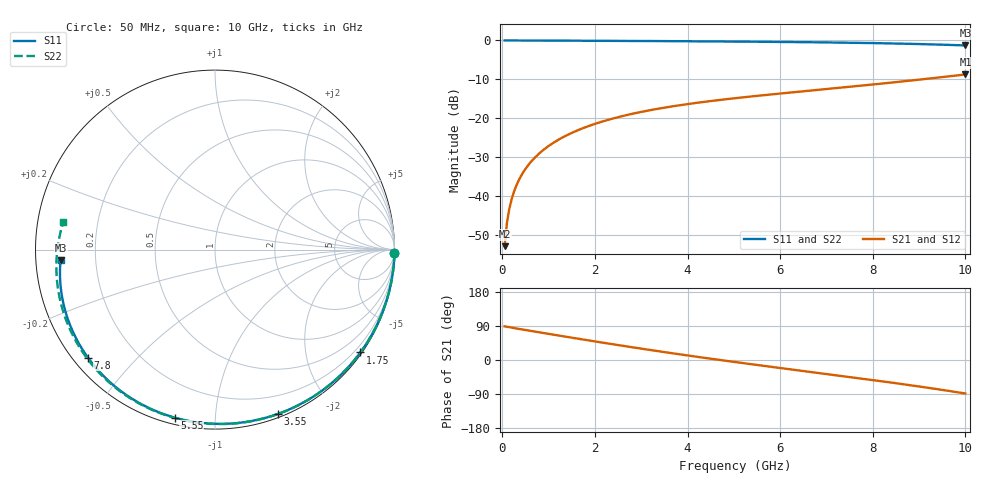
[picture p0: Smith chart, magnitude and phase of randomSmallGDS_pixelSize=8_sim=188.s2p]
! freq	dB(S11)	phase(S11)	dB(S12)	phase(S12)
!  dB(S21)	phase(S21)	dB(S22)	phase(S22)
!S-par simulation data
#  GHz  S  DB  R 50
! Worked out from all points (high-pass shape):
!   200 points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, 50 MHz to 10 GHz, reference 50 ohm
!   highest |S21| = -8.75 dB at 10 GHz (marker M1); lowest = -52.9 dB at 50 MHz (marker M2)
!   |S21| within 3 dB of the highest: 7.66 GHz to end of sweep
!   lowest |S11| = -1.3 dB at 10 GHz (marker M3), VSWR 13.56, Z = 3.69 - j1.73 ohm
!   |S11| at or under -10 dB: nowhere
!   |S22| runs from -1.3 to 0.0 dB; largest |S21 - S12| = 0
!   S11 on the Smith chart (normalised r, x): 50 MHz: open; 1.75 GHz: 0.04, -3.14; 3.55 GHz: 0.03, -1.45; 5.55 GHz: 0.03, -0.79; 7.8 GHz: 0.04, -0.37; 10 GHz: 0.07, -0.03
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0.05  -0.00 -1.0  -52.95 88.8  -52.95 88.8  -0.00 -1.1
0.1  -0.00 -2.1  -46.93 87.7  -46.93 87.7  -0.00 -2.1
0.15  -0.00 -3.1  -43.42 86.6  -43.42 86.6  -0.00 -3.2
0.2  -0.00 -4.1  -40.93 85.5  -40.93 85.5  -0.00 -4.2
0.25  -0.00 -5.1  -39.01 84.4  -39.01 84.4  -0.00 -5.3
0.35  -0.01 -7.2  -36.12 82.2  -36.12 82.2  -0.01 -7.4
0.5  -0.01 -10.3  -33.06 79.1  -33.06 79.1  -0.01 -10.6
0.7  -0.02 -14.3  -30.19 75.0  -30.19 75.0  -0.02 -14.8
1  -0.03 -20.4  -27.17 68.9  -27.17 68.9  -0.03 -21.0
1.35  -0.05 -27.4  -24.66 61.9  -24.66 61.9  -0.05 -28.3
1.75  -0.07 -35.3  -22.54 53.9  -22.54 53.9  -0.07 -36.4
2.6  -0.11 -51.7  -19.45 37.5  -19.45 37.5  -0.12 -53.4
3.4  -0.16 -66.5  -17.50 22.6  -17.50 22.6  -0.17 -68.8
3.55  -0.17 -69.2  -17.20 19.9  -17.20 19.9  -0.18 -71.6
4.3  -0.23 -82.5  -15.90 6.8  -15.90 6.8  -0.23 -85.5
5.05  -0.29 -95.2  -14.83 -5.8  -14.83 -5.8  -0.29 -99.0
5.55  -0.33 -103.5  -14.20 -13.9  -14.20 -13.9  -0.34 -107.8
6.7  -0.46 -122.1  -12.86 -32.2  -12.86 -32.2  -0.48 -127.8
7.8  -0.64 -139.6  -11.58 -49.7  -11.58 -49.7  -0.66 -147.2
8.35  -0.75 -148.5  -10.91 -58.7  -10.91 -58.7  -0.78 -157.2
9.2  -0.99 -162.4  -9.83 -73.4  -9.83 -73.4  -1.02 -173.5
10  -1.28 -176.0  -8.75 -88.4  -8.75 -88.4  -1.32 169.8
